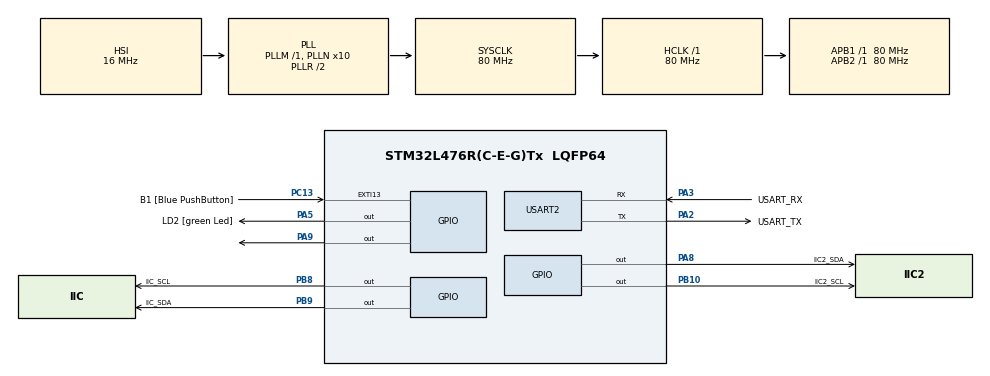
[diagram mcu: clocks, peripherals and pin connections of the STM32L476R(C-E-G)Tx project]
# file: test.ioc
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Mcu.Family=STM32L4
Mcu.Name=STM32L476R(C-E-G)Tx
Mcu.Package=LQFP64
NVIC.EXTI15_10_IRQn=true\:3\:0\:true\:false\:true\:true\:true
NVIC.PriorityGroup=NVIC_PRIORITYGROUP_4
PA13\ (JTMS-SWDIO).GPIO_Label=TMS
PA13\ (JTMS-SWDIO).Mode=Serial_Wire
PA13\ (JTMS-SWDIO).Signal=SYS_JTMS-SWDIO
PA14\ (JTCK-SWCLK).GPIO_Label=TCK
PA14\ (JTCK-SWCLK).Mode=Serial_Wire
PA14\ (JTCK-SWCLK).Signal=SYS_JTCK-SWCLK
PA2.GPIO_Label=USART_TX
PA2.GPIO_Mode=GPIO_MODE_AF_PP
PA2.GPIO_PuPd=GPIO_NOPULL
PA2.GPIO_Speed=GPIO_SPEED_FREQ_VERY_HIGH
PA2.Mode=Asynchronous
PA2.Signal=USART2_TX
PA3.GPIO_Label=USART_RX
PA3.GPIO_Mode=GPIO_MODE_AF_PP
PA3.GPIO_PuPd=GPIO_NOPULL
PA3.GPIO_Speed=GPIO_SPEED_FREQ_VERY_HIGH
PA3.Mode=Asynchronous
PA3.Signal=USART2_RX
PA5.GPIO_Label=LD2 [green Led]
PA5.GPIO_ModeDefaultOutputPP=GPIO_MODE_OUTPUT_PP
PA5.GPIO_PuPd=GPIO_NOPULL
PA5.GPIO_Speed=GPIO_SPEED_FREQ_LOW
PA5.Signal=GPIO_Output
PA8.GPIO_Label=IIC2_SDA
PA8.Signal=GPIO_Output
PA9.Signal=GPIO_Output
PB10.GPIO_Label=IIC2_SCL
PB10.Signal=GPIO_Output
PB3\ (JTDO-TRACESWO).GPIO_Label=SWO
PB3\ (JTDO-TRACESWO).Signal=SYS_JTDO-SWO
PB8.GPIO_Label=IIC_SCL
PB8.Signal=GPIO_Output
PB9.GPIO_Label=IIC_SDA
PB9.Signal=GPIO_Output
PC13.GPIO_Label=B1 [Blue PushButton]
PC13.GPIO_ModeDefaultEXTI=GPIO_MODE_IT_FALLING
PC13.GPIO_PuPd=GPIO_NOPULL
PC13.Signal=GPXTI13
PC14-OSC32_IN\ (PC14).Mode=LSE-External-Oscillator
PC14-OSC32_IN\ (PC14).Signal=RCC_OSC32_IN
PC15-OSC32_OUT\ (PC15).Mode=LSE-External-Oscillator
PC15-OSC32_OUT\ (PC15).Signal=RCC_OSC32_OUT
PH0-OSC_IN\ (PH0).Signal=RCC_OSC_IN
PH1-OSC_OUT\ (PH1).Signal=RCC_OSC_OUT
ProjectManager.HeapSize=0x200
ProjectManager.StackSize=0x400
ProjectManager.TargetToolchain=MDK-ARM V5.27
RCC.ADCFreq_Value=64000000
RCC.AHBFreq_Value=80000000
RCC.APB1Freq_Value=80000000
RCC.APB1TimFreq_Value=80000000
RCC.APB2Freq_Value=80000000
RCC.APB2TimFreq_Value=80000000
RCC.CortexFreq_Value=80000000
RCC.HCLKFreq_Value=80000000
RCC.HSE_VALUE=8000000
RCC.HSI_VALUE=16000000
RCC.MSI_VALUE=4000000
RCC.PLLN=10
RCC.PLLSourceVirtual=RCC_PLLSOURCE_HSI
RCC.PREFETCH_ENABLE=1
RCC.SYSCLKFreq_VALUE=80000000
RCC.SYSCLKSource=RCC_SYSCLKSOURCE_PLLCLK
RCC.USBFreq_Value=64000000
RCC.VCOOutputFreq_Value=160000000
USART2.VirtualMode-Asynchronous=VM_ASYNC
board=NUCLEO-L476RG

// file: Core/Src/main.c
/* USER CODE BEGIN Header */
/**
  ******************************************************************************
  * @file           : main.c
  * @brief          : Main program body
  ******************************************************************************
  * @attention
  *
  * <h2><center>&copy; Copyright (c) 2021 STMicroelectronics.
  * All rights reserved.</center></h2>
  *
  * This software component is licensed by ST under BSD 3-Clause license,
  * the "License"; You may not use this file except in compliance with the
  * License. You may obtain a copy of the License at:
  *                        opensource.org/licenses/BSD-3-Clause
  *
  ******************************************************************************
  */
/* USER CODE END Header */
#include "main.h"
#include "usart.h"
#include "gpio.h"

/* USER CODE BEGIN Includes */
#include "TCS34725.h"
#include <vl_6180.h>
#include <string.h>
/* USER CODE END Includes */

/* USER CODE BEGIN PV */
uint8_t atx[]="123\r\n";
uint8_t aRxBuffer1[1];
uint8_t RXBUFFERSIZE1=1;
uint16_t TimerCnt100ms=0;
uint16_t TimerCnt500ms=0;
uint32_t SysTick_t1=0;
uint32_t SysTick_t2=0;
/* USER CODE END PV */

void SystemClock_Config(void);

int main(void)
{

  /* MCU Configuration--------------------------------------------------------*/

  /* Reset of all peripherals, Initializes the Flash interface and the Systick. */
  HAL_Init();

  /* Configure the system clock */
  SystemClock_Config();

  /* Initialize all configured peripherals */
  MX_GPIO_Init();
  MX_USART2_UART_Init();
  /* USER CODE BEGIN 2 */
	my_tcs34725_init();
	VL6180X_Init();
  /* USER CODE END 2 */

  /* Infinite loop */
  /* USER CODE BEGIN WHILE */

  /* USER CODE END 2 */

  /* Infinite loop */
  /* USER CODE BEGIN WHILE */

	HAL_UART_Transmit(&huart2,"\r\nVL6180X\r\n",strlen("\r\nVL6180X\r\n"),0xFFFF);

	if(VL6180X_Init() == 0)	HAL_UART_Transmit(&huart2,"\r\nVL6180chenggong\r\n",strlen("\r\nVL6180Xchenggong\r\n"),0xFFFF);

	/*LOOP*/
	while(1)
	{
		uint8_t ex_Range = 0;
		char uart_send_buf[100]={0};
		char uart_send_buf1[100]={0};

		ex_Range = VL6180X_Read_Range();

		sprintf(uart_send_buf," \r\n %d mm",ex_Range);

		HAL_UART_Transmit(&huart2,uart_send_buf,strlen(uart_send_buf),0xFFFF);

		HAL_Delay(100);

		my_tcs34725_read();

		my_tcs34725_get_color();

		sprintf(uart_send_buf1,"           [%d,%d,%d]\r\n",tcs_data.rv,tcs_data.gv,tcs_data.bv);

		HAL_UART_Transmit(&huart2,uart_send_buf1,strlen(uart_send_buf1),0xFFFF);

		HAL_Delay(100);

	}

    /* USER CODE END WHILE */

}

void SystemClock_Config(void)
{
  RCC_OscInitTypeDef RCC_OscInitStruct = {0};
  RCC_ClkInitTypeDef RCC_ClkInitStruct = {0};
  RCC_PeriphCLKInitTypeDef PeriphClkInit = {0};

  /** Initializes the RCC Oscillators according to the specified parameters
  * in the RCC_OscInitTypeDef structure.
  */
  RCC_OscInitStruct.OscillatorType = RCC_OSCILLATORTYPE_HSI;
  RCC_OscInitStruct.HSIState = RCC_HSI_ON;
  RCC_OscInitStruct.HSICalibrationValue = RCC_HSICALIBRATION_DEFAULT;
  RCC_OscInitStruct.PLL.PLLState = RCC_PLL_ON;
  RCC_OscInitStruct.PLL.PLLSource = RCC_PLLSOURCE_HSI;
  RCC_OscInitStruct.PLL.PLLM = 1;
  RCC_OscInitStruct.PLL.PLLN = 10;
  RCC_OscInitStruct.PLL.PLLP = RCC_PLLP_DIV7;
  RCC_OscInitStruct.PLL.PLLQ = RCC_PLLQ_DIV2;
  RCC_OscInitStruct.PLL.PLLR = RCC_PLLR_DIV2;
  if (HAL_RCC_OscConfig(&RCC_OscInitStruct) != HAL_OK)
  {
    Error_Handler();
  }
  /** Initializes the CPU, AHB and APB buses clocks
  */
  RCC_ClkInitStruct.ClockType = RCC_CLOCKTYPE_HCLK|RCC_CLOCKTYPE_SYSCLK
                              |RCC_CLOCKTYPE_PCLK1|RCC_CLOCKTYPE_PCLK2;
  RCC_ClkInitStruct.SYSCLKSource = RCC_SYSCLKSOURCE_PLLCLK;
  RCC_ClkInitStruct.AHBCLKDivider = RCC_SYSCLK_DIV1;
  RCC_ClkInitStruct.APB1CLKDivider = RCC_HCLK_DIV1;
  RCC_ClkInitStruct.APB2CLKDivider = RCC_HCLK_DIV1;

  if (HAL_RCC_ClockConfig(&RCC_ClkInitStruct, FLASH_LATENCY_4) != HAL_OK)
  {
    Error_Handler();
  }
  PeriphClkInit.PeriphClockSelection = RCC_PERIPHCLK_USART2;
  PeriphClkInit.Usart2ClockSelection = RCC_USART2CLKSOURCE_PCLK1;
  if (HAL_RCCEx_PeriphCLKConfig(&PeriphClkInit) != HAL_OK)
  {
    Error_Handler();
  }
  /** Configure the main internal regulator output voltage
  */
  if (HAL_PWREx_ControlVoltageScaling(PWR_REGULATOR_VOLTAGE_SCALE1) != HAL_OK)
  {
    Error_Handler();
  }
}

void Error_Handler(void)
{
  __disable_irq();
  while (1)
  {
  }
}

/************************ (C) COPYRIGHT STMicroelectronics *****END OF FILE****/
